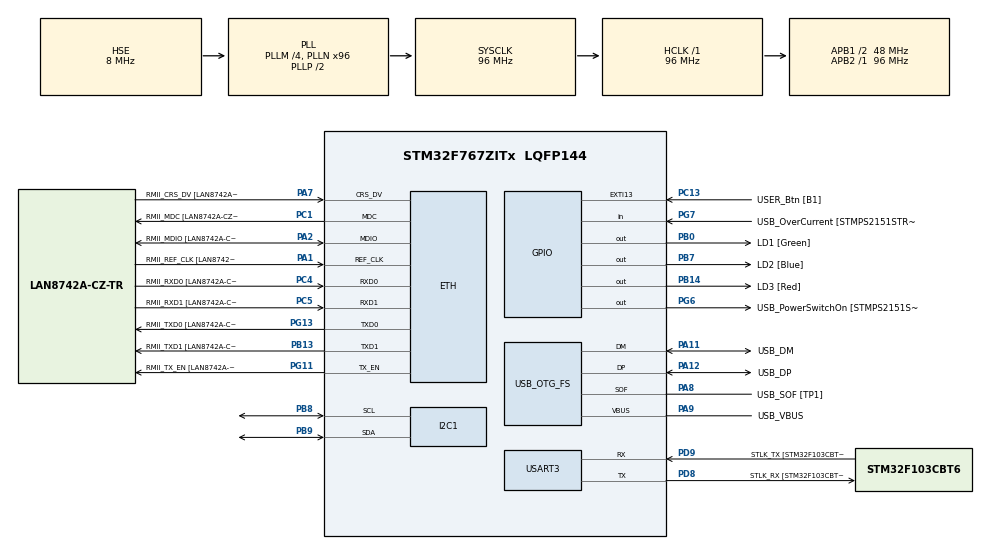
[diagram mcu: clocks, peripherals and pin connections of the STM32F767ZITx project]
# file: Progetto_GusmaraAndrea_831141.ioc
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ETH.MediaInterface=ETH_MEDIA_INTERFACE_RMII
ETH.PHY_Name=LAN8742A_PHY_ADDRESS
ETH.PHY_Value=0
ETH.PhyAddress=0
I2C1.Timing=0x20303E5D
Mcu.Family=STM32F7
Mcu.Name=STM32F767ZITx
Mcu.Package=LQFP144
NVIC.PriorityGroup=NVIC_PRIORITYGROUP_4
NVIC.TIM3_IRQn=true\:0\:0\:false\:false\:true\:true\:true
NVIC.TIM4_IRQn=true\:0\:0\:false\:false\:true\:true\:true
NVIC.TIM6_DAC_IRQn=true\:0\:0\:false\:false\:true\:true\:true
NVIC.TIM7_IRQn=true\:0\:0\:false\:false\:true\:true\:true
PA1.GPIO_Label=RMII_REF_CLK [LAN8742A-CZ-TR_REFCLK0]
PA1.Mode=RMII
PA1.Signal=ETH_REF_CLK
PA10.GPIO_Label=USB_ID
PA10.Signal=USB_OTG_FS_ID
PA11.GPIO_Label=USB_DM
PA11.Mode=Device_Only
PA11.Signal=USB_OTG_FS_DM
PA12.GPIO_Label=USB_DP
PA12.Mode=Device_Only
PA12.Signal=USB_OTG_FS_DP
PA13.GPIO_Label=TMS
PA13.Mode=Serial_Wire
PA13.Signal=SYS_JTMS-SWDIO
PA14.GPIO_Label=TCK
PA14.Mode=Serial_Wire
PA14.Signal=SYS_JTCK-SWCLK
PA2.GPIO_Label=RMII_MDIO [LAN8742A-CZ-TR_MDIO]
PA2.Mode=RMII
PA2.Signal=ETH_MDIO
PA7.GPIO_Label=RMII_CRS_DV [LAN8742A-CZ-TR_CRS_DV]
PA7.Mode=RMII
PA7.Signal=ETH_CRS_DV
PA8.GPIO_Label=USB_SOF [TP1]
PA8.Mode=Activate_SOF_FS
PA8.Signal=USB_OTG_FS_SOF
PA9.GPIO_Label=USB_VBUS
PA9.Mode=Activate_VBUS
PA9.Signal=USB_OTG_FS_VBUS
PB0.GPIO_Label=LD1 [Green]
PB0.Signal=GPIO_Output
PB13.GPIO_Label=RMII_TXD1 [LAN8742A-CZ-TR_TXD1]
PB13.Mode=RMII
PB13.Signal=ETH_TXD1
PB14.GPIO_Label=LD3 [Red]
PB14.Signal=GPIO_Output
PB3.GPIO_Label=SWO
PB3.Signal=SYS_JTDO-SWO
PB7.GPIO_Label=LD2 [Blue]
PB7.Signal=GPIO_Output
PB8.Mode=I2C
PB8.Signal=I2C1_SCL
PB9.Mode=I2C
PB9.Signal=I2C1_SDA
PC1.GPIO_Label=RMII_MDC [LAN8742A-CZ-TR_MDC]
PC1.Mode=RMII
PC1.Signal=ETH_MDC
PC13.GPIO_Label=USER_Btn [B1]
PC13.Signal=GPXTI13
PC14/OSC32_IN.Mode=LSE-External-Oscillator
PC14/OSC32_IN.Signal=RCC_OSC32_IN
PC15/OSC32_OUT.Mode=LSE-External-Oscillator
PC15/OSC32_OUT.Signal=RCC_OSC32_OUT
PC4.GPIO_Label=RMII_RXD0 [LAN8742A-CZ-TR_RXD0]
PC4.Mode=RMII
PC4.Signal=ETH_RXD0
PC5.GPIO_Label=RMII_RXD1 [LAN8742A-CZ-TR_RXD1]
PC5.Mode=RMII
PC5.Signal=ETH_RXD1
PD8.GPIO_Label=STLK_RX [STM32F103CBT6_PA3]
PD8.Mode=Asynchronous
PD8.Signal=USART3_TX
PD9.GPIO_Label=STLK_TX [STM32F103CBT6_PA2]
PD9.Mode=Asynchronous
PD9.Signal=USART3_RX
PG11.GPIO_Label=RMII_TX_EN [LAN8742A-CZ-TR_TXEN]
PG11.Mode=RMII
PG11.Signal=ETH_TX_EN
PG13.GPIO_Label=RMII_TXD0 [LAN8742A-CZ-TR_TXD0]
PG13.Mode=RMII
PG13.Signal=ETH_TXD0
PG6.GPIO_Label=USB_PowerSwitchOn [STMPS2151STR_EN]
PG6.Signal=GPIO_Output
PG7.GPIO_Label=USB_OverCurrent [STMPS2151STR_FAULT]
PG7.Signal=GPIO_Input
PH0/OSC_IN.GPIO_Label=MCO [STM32F103CBT6_PA8]
PH0/OSC_IN.Mode=HSE-External-Clock-Source
PH0/OSC_IN.Signal=RCC_OSC_IN
PH1/OSC_OUT.Mode=HSE-External-Clock-Source
PH1/OSC_OUT.Signal=RCC_OSC_OUT
ProjectManager.HeapSize=0x200
ProjectManager.StackSize=0x400
ProjectManager.TargetToolchain=STM32CubeIDE
RCC.48MHZClocksFreq_Value=24000000
RCC.AHBFreq_Value=96000000
RCC.APB1CLKDivider=RCC_HCLK_DIV2
RCC.APB1Freq_Value=48000000
RCC.APB1TimFreq_Value=96000000
RCC.APB2Freq_Value=96000000
RCC.APB2TimFreq_Value=96000000
RCC.CortexFreq_Value=96000000
RCC.HCLKFreq_Value=96000000
RCC.HSE_VALUE=8000000
RCC.HSI_VALUE=16000000
RCC.PLLM=4
RCC.PLLMUL=RCC_PLL_MUL9
RCC.PLLN=96
RCC.PLLQ=4
RCC.PRESCALERUSB=RCC_USBCLKSOURCE_PLL_DIV1_5
RCC.SYSCLKFreq_VALUE=96000000
RCC.SYSCLKSource=RCC_SYSCLKSOURCE_PLLCLK
RCC.SYSCLKSourceVirtual=RCC_SYSCLKSOURCE_PLLCLK
RCC.USBFreq_Value=48000000
RCC.VCOOutputFreq_Value=192000000
TIM3.Period=3199
TIM3.Prescaler=2999
TIM4.Period=31999
TIM4.Prescaler=2999
TIM6.AutoReloadPreload=TIM_AUTORELOAD_PRELOAD_ENABLE
TIM6.Period=3199
TIM6.Prescaler=399
TIM7.AutoReloadPreload=TIM_AUTORELOAD_PRELOAD_ENABLE
TIM7.Period=3199
TIM7.Prescaler=999
USART3.VirtualMode-Asynchronous=VM_ASYNC
USB_OTG_FS.VirtualMode=Device_Only
VP_TIM3_VS_ClockSourceINT.Mode=Internal
VP_TIM4_VS_ClockSourceINT.Mode=Internal
VP_TIM6_VS_ClockSourceINT.Mode=Enable_Timer
VP_TIM7_VS_ClockSourceINT.Mode=Enable_Timer
board=NUCLEO-F767ZI

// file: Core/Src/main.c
/* USER CODE BEGIN Header */
/**
  ******************************************************************************
  * @file           : main.c
  * @brief          : Main program body
  ******************************************************************************
  *
  *
  *
  * Project written by : Andrea Gusmara (831141).
  *
  * last modify: 10/08/2020
  *
  * Consegna progetto:
  * Si	vuole	progettare	un	sottosistema	di	acquisizione	e	prima	elaborazione	dati	da	sensori	per	un	drone	che	verrà	utilizzato
  *	per	 l’ispezione	 di	 torri	 eoliche.	 Il	 drone	 non	 necessita	 di	 essere	 certificato	 per	 il	 volo	 civile	 e	 il	 sottosistema	 di
  *	acquisizione/elaborazione	 dati	 deve	 essere	 poco	 costoso.	 Si	 è	 pertanto	 scelto	 di	 basare	 il	 sottosistema	 su	 un
  *	microcontrollore	ARM	e	su	sensori	 facilmente	reperibili	sul	mercato.	La	versione	che	progetterete	voi	sarà	basata	sul
  *	microcontrollore	STM32	F767ZI	installato	sulla	scheda	di	sviluppo	Nucleo	usata	a	laboratorio	e	sui	sensori	sullo	shield	di
  *	espansione	 X-NUCLEO-IKS01A2,	 oltre	 ad	 altri	 apparati	 sensoriali	 non	 gestiti	 da	 questa	 board.	 Il	 sottosistema	 deve
  *	funzionare	 in	 tempo	 reale	 con	 opportuni	 vincoli	 temporali	 che saranno	 successivamente	 specificati. Il	 sottosistema
  *	interagisce	 con	 i	 seguenti	 sensori	 dello	 shield	 di	 espansione: accelerometro	 1,	 accelerometro 2,	 giroscopio,
  *	magnetometro,	barometro.
  *
  ******************************************************************************
  */
/* USER CODE END Header */
#include "main.h"

/* USER CODE BEGIN Includes */
#include "lcd.h"
#include <stdio.h>
#include <string.h>
#include "lsm6dsl_reg.h"
#include "lsm303agr_reg.h"
#include "lps22hb_reg.h"
/* USER CODE END Includes */

/* USER CODE BEGIN PTD */
typedef enum { false = 0, true = 1} bool;

typedef union{
  int16_t i16bit[3];
  uint8_t u8bit[6];
} axis3bit16_t;

typedef union{
  int32_t i32bit;
  uint8_t u8bit[4];
} axis1bit32_t;

/* USER CODE END PTD */

/* USER CODE BEGIN PD */
#define NUCLEO_F767ZI
#define TX_BUF_DIM          1000
/* USER CODE END PD */

ETH_HandleTypeDef heth;

I2C_HandleTypeDef hi2c1;

TIM_HandleTypeDef htim3;
TIM_HandleTypeDef htim4;
TIM_HandleTypeDef htim6;
TIM_HandleTypeDef htim7;

UART_HandleTypeDef huart3;

PCD_HandleTypeDef hpcd_USB_OTG_FS;

/* USER CODE BEGIN PV */
static axis1bit32_t data_raw_pressure;
static axis3bit16_t data_raw_acceleration;
static axis3bit16_t data_raw_magnetic;
static axis3bit16_t data_raw_angular_rate;
static float coda_x_ang[10];
static float coda_y_ang[10];
static float coda_z_ang[10];
static float coda_x_acc1[10];
static float coda_y_acc1[10];
static float coda_z_acc1[10];
static float coda_x_acc2[10];
static float coda_y_acc2[10];
static float coda_z_acc2[10];
static float coda_mg_x[3];
static float coda_mg_y[3];
static float coda_mg_z[3];
static float coda_bar[40];
static float pressure;
static float acceleration_mg_mean[3];
static float acceleration2_mean_mean[3];
static float magnetic_mean[3];
static float angular_mean[3];
static uint8_t whoamI, rst;
static uint8_t tx_buffer[TX_BUF_DIM];

static bool tim7_it;
static bool acc_and_giro_flag, magn_flag, mean_flag, baro_flag,display_flag;

/* USER CODE END PV */

void SystemClock_Config(void);
static void MX_GPIO_Init(void);
static void MX_ETH_Init(void);
static void MX_USART3_UART_Init(void);
static void MX_USB_OTG_FS_PCD_Init(void);
static void MX_I2C1_Init(void);
static void MX_TIM6_Init(void);
static void MX_TIM7_Init(void);
static void MX_TIM3_Init(void);
static void MX_TIM4_Init(void);
/* USER CODE BEGIN PFP */
static int32_t lsm303agr_platform_write(void *handle, uint8_t reg, uint8_t *bufp,
		uint16_t len);
static int32_t lsm303agr_platform_read(void *handle, uint8_t reg, uint8_t *bufp,
		uint16_t len);
static int32_t lsm6dsl_platform_write(void *handle, uint8_t reg, uint8_t *bufp,
		uint16_t len);
static int32_t lsm6dsl_platform_read(void *handle, uint8_t reg, uint8_t *bufp,
		uint16_t len);
static int32_t lps22hb_platform_write(void *handle, uint8_t reg, uint8_t *bufp,
                              uint16_t len);
static int32_t lps22hb_platform_read(void *handle, uint8_t reg, uint8_t *bufp,
                             uint16_t len);
static void tx_com(uint8_t *tx_buffer, uint16_t len);
static void acceleration2_acquisition(stmdev_ctx_t *lsm6dsl_dev_ctx, int8_t i);
static void acceleration1_acquisition(stmdev_ctx_t *lsm303_dev_ctx_xl, int8_t i);
static void magnetometer_acquisition(stmdev_ctx_t *lsm303_dev_ctx_mg, int8_t i);
static void gyroscope_acquisition(stmdev_ctx_t *lsm6dsl_dev_ctx, int8_t i);
static void pressure_acquisition(stmdev_ctx_t *lps22hb_dev_ctx, int8_t i);
static void compute_mean(int8_t size, float *buffx, float *buffy, float *buffz, float *result);
static void compute_mean_bar(int8_t size, float *buff, float result);
static void initialization();
static stmdev_ctx_t lsm6dsl_init(I2C_HandleTypeDef *hi2c);
static stmdev_ctx_t lsm303agr_init_xl(I2C_HandleTypeDef *hi2c);
static stmdev_ctx_t lsm303agr_init_mg(I2C_HandleTypeDef *hi2c);
static stmdev_ctx_t lps22hb_init_mg(I2C_HandleTypeDef *hi2c);
/* USER CODE END PFP */

int main(void)
{
  /* USER CODE BEGIN 1 */
	int sens=0;
		int i=0;
		int j=0;
		int k=0;
		bool page=false;
  /* USER CODE END 1 */

  /* MCU Configuration--------------------------------------------------------*/

  /* Reset of all peripherals, Initializes the Flash interface and the Systick. */
  HAL_Init();

  /* Configure the system clock */
  SystemClock_Config();

  /* Initialize all configured peripherals */
  MX_GPIO_Init();
  MX_ETH_Init();
  MX_USART3_UART_Init();
  MX_USB_OTG_FS_PCD_Init();
  MX_I2C1_Init();
  MX_TIM6_Init();
  MX_TIM7_Init();
  MX_TIM3_Init();
  MX_TIM4_Init();
  /* USER CODE BEGIN 2 */

  /* User initialization : Here we initialize all sensors , the channel i2c connecting
   * the display and start timers*/
  lcdInit(&hi2c1);
  initialization();
  stmdev_ctx_t lsm6dsl_dev_ctx =lsm6dsl_init(&hi2c1);
  stmdev_ctx_t lsm303_dev_ctx_xl = lsm303agr_init_xl(&hi2c1);
  stmdev_ctx_t lsm303_dev_ctx_mg = lsm303agr_init_mg(&hi2c1);
  stmdev_ctx_t lps22hb_dev_ctx = lps22hb_init_mg(&hi2c1);
  HAL_TIM_Base_Start_IT(&htim4);
  HAL_TIM_Base_Start_IT(&htim3);
  HAL_TIM_Base_Start_IT(&htim7);
  HAL_TIM_Base_Start_IT(&htim6);
  /* USER CODE END 2 */

  /* Infinite loop */
  while (1)
  {

	  uint32_t a= HAL_GetTick();
	  /*compute mean for all sernsors*/
	     if(mean_flag){

	 		mean_flag=false;
	 		compute_mean(10, &coda_x_acc1,  &coda_y_acc1,  &coda_z_acc1, &acceleration_mg_mean);
	 		compute_mean(10, &coda_x_acc2,  &coda_y_acc2,  &coda_z_acc2, &acceleration2_mean_mean);
	 		compute_mean(10, &coda_x_ang,  &coda_y_ang,  &coda_z_ang, &angular_mean);
	 		compute_mean(3, &coda_mg_x,  &coda_mg_y,  &coda_mg_z, &magnetic_mean);
	 		compute_mean_bar( 40, &coda_bar, pressure );

	     }

	     /*take data from accelerometer and gyroscope*/
	     if(acc_and_giro_flag){
	 		acc_and_giro_flag=false;
	 		acceleration1_acquisition(&lsm6dsl_dev_ctx, i);
	 		acceleration2_acquisition(&lsm303_dev_ctx_xl, i);
	 		gyroscope_acquisition(&lsm6dsl_dev_ctx, i);
	 		if (i == 10){
	 			i = 0;
	 		}else{
	 			i = i + 1;
	 		}
	 	}
	     /*take data from magnetometer*/
	     if(magn_flag){
	     	magn_flag=false;
	 		magnetometer_acquisition(&lsm303_dev_ctx_mg, j);
	 		 if (j == 3){
	 			j = 0;
	 		}else{
	 			j = j + 1;
	 		}
	 	}
	     /*take data from barometer*/
	     if(baro_flag){
	     	baro_flag=false;
	     	pressure_acquisition(&lps22hb_dev_ctx, k);
	 		 if (k == 40){
	 			k = 0;
	 		}else{
	 			k = k + 1;
	 		}
	     }

	     /*every second print to LCD the result of the learned data*/
	     if(display_flag){
	 		  display_flag=false;
	 		  /*print the result of the first accelerometer*/
	 		  if(sens==0){
	 			  /*print X and Y*/
	 			  if(!page){
	 					sprintf((char*)tx_buffer, "Acc1 X:%4d   ",
	 									  (int)acceleration_mg_mean[0]);
	 					tx_com( tx_buffer, strlen( (char const*)tx_buffer ) );
	 					HAL_Delay(10);
	 					lcdSetCursor(0,0);
	 					lcdPrint(tx_buffer);
	 					sprintf((char*)tx_buffer, "Y: %4d       ",
	 						 (int)acceleration_mg_mean[1]);
	 					tx_com( tx_buffer, strlen( (char const*)tx_buffer ) );
	 					HAL_Delay(10);
	 					lcdSetCursor(0,1);
	 					lcdPrint(tx_buffer);
	 			  }else{
	 				 /*print Z*/
	 					sprintf((char*)tx_buffer, "Z: %4d       ",
	 									  (int)acceleration_mg_mean[2]);
	 					tx_com( tx_buffer, strlen( (char const*)tx_buffer ) );
	 					HAL_Delay(10);
	 					lcdSetCursor(0,0);
	 					lcdPrint(tx_buffer);
	 					sprintf((char*)tx_buffer, "                ");
	 					tx_com( tx_buffer, strlen( (char const*)tx_buffer ) );
	 					HAL_Delay(10);
	 					lcdSetCursor(0,1);
	 					lcdPrint(tx_buffer);
	 			  }

	 			  /*print the result of the second accelerometer*/
	 		  }else if(sens==1){
	 			  /*print X and Y*/
	 			  if(!page){
	 					sprintf((char*)tx_buffer, "Acc2 X:%4d   ",
	 									 (int)acceleration2_mean_mean[0]);
	 					tx_com( tx_buffer, strlen( (char const*)tx_buffer ) );
	 					HAL_Delay(10);
	 					lcdSetCursor(0,0);
	 					lcdPrint(tx_buffer);
	 					sprintf((char*)tx_buffer, "Y: %4d       ",
	 							(int)acceleration2_mean_mean[1]);
	 					tx_com( tx_buffer, strlen( (char const*)tx_buffer ) );
	 					HAL_Delay(10);
	 					lcdSetCursor(0,1);
	 					lcdPrint(tx_buffer);
	 			  }else{
	 				  /*print Z*/
	 					sprintf((char*)tx_buffer, "Z: %4d       ",
	 							(int)acceleration2_mean_mean[2]);
	 					tx_com( tx_buffer, strlen( (char const*)tx_buffer ) );
	 					HAL_Delay(10);
	 					lcdSetCursor(0,0);
	 					lcdPrint(tx_buffer);
	 					sprintf((char*)tx_buffer, "                ");
	 					tx_com( tx_buffer, strlen( (char const*)tx_buffer ) );
	 					HAL_Delay(10);
	 					lcdSetCursor(0,1);
	 					lcdPrint(tx_buffer);
	 			  }
	 		/*print the result of the gyroscope*/
	 		  }else if(sens == 2){
	 			  /*print X and Y*/
	 			  if(!page){
	 					sprintf((char*)tx_buffer, "Ang X:%4d    ",
	 									  (int)angular_mean[0]);
	 					tx_com( tx_buffer, strlen( (char const*)tx_buffer ) );
	 					HAL_Delay(10);
	 					lcdSetCursor(0,0);
	 					lcdPrint(tx_buffer);
	 					sprintf((char*)tx_buffer, "Y: %4d       ",
	 							(int)angular_mean[1]);
	 					tx_com( tx_buffer, strlen( (char const*)tx_buffer ) );
	 					HAL_Delay(10);
	 					lcdSetCursor(0,1);
	 					lcdPrint(tx_buffer);
	 			  }else{
	 				  /*print Z*/
	 					sprintf((char*)tx_buffer, "Z: %4d       ",
	 							(int)angular_mean[2]);
	 					tx_com( tx_buffer, strlen( (char const*)tx_buffer ) );
	 					HAL_Delay(10);
	 					lcdSetCursor(0,0);
	 					lcdPrint(tx_buffer);
	 					sprintf((char*)tx_buffer, "                ");
	 					tx_com( tx_buffer, strlen( (char const*)tx_buffer ) );
	 					HAL_Delay(10);
	 					lcdSetCursor(0,1);
	 					lcdPrint(tx_buffer);
	 			  }
	 			  /*print the result of the magnetometer*/
	 		  }else if(sens == 3){
	 			  /*print X and Y*/
	 			  if(!page){
	 					sprintf((char*)tx_buffer, "Mag X:%4d    ",
	 									 (int) magnetic_mean[0]);
	 					tx_com( tx_buffer, strlen( (char const*)tx_buffer ) );
	 					HAL_Delay(10);
	 					lcdSetCursor(0,0);
	 					lcdPrint(tx_buffer);
	 					sprintf((char*)tx_buffer, "Y: %4d       ",
	 							(int)magnetic_mean[1]);
	 					tx_com( tx_buffer, strlen( (char const*)tx_buffer ) );
	 					HAL_Delay(10);
	 					lcdSetCursor(0,1);
	 					lcdPrint(tx_buffer);
	 			  }else{
	 				  /*print Z*/
	 					sprintf((char*)tx_buffer, "Z: %4d    ",
	 							(int)magnetic_mean[2]);
	 					tx_com( tx_buffer, strlen( (char const*)tx_buffer ) );
	 					HAL_Delay(10);
	 					lcdSetCursor(0,0);
	 					lcdPrint(tx_buffer);
	 					sprintf((char*)tx_buffer, "                ");
	 					tx_com( tx_buffer, strlen( (char const*)tx_buffer ) );
	 					HAL_Delay(10);
	 					lcdSetCursor(0,1);
	 					lcdPrint(tx_buffer);
	 			  }
	 		/*print the result of the barometer*/
	 		}else if (sens == 4){
	 			sprintf((char*)tx_buffer, "Prs :%6d    ", (int)pressure);
	 			tx_com(tx_buffer, strlen((char const*)tx_buffer));
	 			HAL_Delay(10);
	 			lcdSetCursor(0,0);
	 			lcdPrint(tx_buffer);
	 			sprintf((char*)tx_buffer, "                ");
	 			tx_com( tx_buffer, strlen( (char const*)tx_buffer ) );
	 			HAL_Delay(10);
	 			lcdSetCursor(0,1);
	 			lcdPrint(tx_buffer);
	 		}
  }
	     /*check if a button has been pressed and check which one*/
	     	uint8_t but = lcdReadButtons();
	     	if(but == 0 || but == 1111){
	     	}else{
	     		/*If press the first button, the sensor to be displayed on the LCD is changed forward*/
	     		if(!(but & 0x01)) {
	     			if(sens < 4){
	     				sens = sens + 1;
	     			}else{
	     				sens = 0;
	     			}
	     		}else if (!(but & 0x02)) {
	     			/*If you press the first button, the variable to be displayed on the LCD is changed*/
	     			if(page){
	     				page=false;
	     			}else{
	     				page=true;
	     			}
	     			/*If you press the fourth  button, the sensor to be displayed on the LCD is changed backwards*/
	     		}else if (!(but & 0x08)) {
	     			if(sens > 0){
	     				sens = sens - 1;
	     			}else{
	     				sens = 4;
	     			}
	     		}
	     	}
  }
}

void SystemClock_Config(void)
{
  RCC_OscInitTypeDef RCC_OscInitStruct = {0};
  RCC_ClkInitTypeDef RCC_ClkInitStruct = {0};
  RCC_PeriphCLKInitTypeDef PeriphClkInitStruct = {0};

  /** Configure LSE Drive Capability
  */
  HAL_PWR_EnableBkUpAccess();
  /** Configure the main internal regulator output voltage
  */
  __HAL_RCC_PWR_CLK_ENABLE();
  __HAL_PWR_VOLTAGESCALING_CONFIG(PWR_REGULATOR_VOLTAGE_SCALE3);
  /** Initializes the RCC Oscillators according to the specified parameters
  * in the RCC_OscInitTypeDef structure.
  */
  RCC_OscInitStruct.OscillatorType = RCC_OSCILLATORTYPE_HSE;
  RCC_OscInitStruct.HSEState = RCC_HSE_BYPASS;
  RCC_OscInitStruct.PLL.PLLState = RCC_PLL_ON;
  RCC_OscInitStruct.PLL.PLLSource = RCC_PLLSOURCE_HSE;
  RCC_OscInitStruct.PLL.PLLM = 4;
  RCC_OscInitStruct.PLL.PLLN = 96;
  RCC_OscInitStruct.PLL.PLLP = RCC_PLLP_DIV2;
  RCC_OscInitStruct.PLL.PLLQ = 4;
  if (HAL_RCC_OscConfig(&RCC_OscInitStruct) != HAL_OK)
  {
    Error_Handler();
  }
  /** Activate the Over-Drive mode
  */
  if (HAL_PWREx_EnableOverDrive() != HAL_OK)
  {
    Error_Handler();
  }
  /** Initializes the CPU, AHB and APB buses clocks
  */
  RCC_ClkInitStruct.ClockType = RCC_CLOCKTYPE_HCLK|RCC_CLOCKTYPE_SYSCLK
                              |RCC_CLOCKTYPE_PCLK1|RCC_CLOCKTYPE_PCLK2;
  RCC_ClkInitStruct.SYSCLKSource = RCC_SYSCLKSOURCE_PLLCLK;
  RCC_ClkInitStruct.AHBCLKDivider = RCC_SYSCLK_DIV1;
  RCC_ClkInitStruct.APB1CLKDivider = RCC_HCLK_DIV2;
  RCC_ClkInitStruct.APB2CLKDivider = RCC_HCLK_DIV1;

  if (HAL_RCC_ClockConfig(&RCC_ClkInitStruct, FLASH_LATENCY_3) != HAL_OK)
  {
    Error_Handler();
  }
  PeriphClkInitStruct.PeriphClockSelection = RCC_PERIPHCLK_USART3|RCC_PERIPHCLK_I2C1
                              |RCC_PERIPHCLK_CLK48;
  PeriphClkInitStruct.Usart3ClockSelection = RCC_USART3CLKSOURCE_PCLK1;
  PeriphClkInitStruct.I2c1ClockSelection = RCC_I2C1CLKSOURCE_PCLK1;
  PeriphClkInitStruct.Clk48ClockSelection = RCC_CLK48SOURCE_PLL;
  if (HAL_RCCEx_PeriphCLKConfig(&PeriphClkInitStruct) != HAL_OK)
  {
    Error_Handler();
  }
}

static void MX_ETH_Init(void)
{

  heth.Instance = ETH;
  heth.Init.AutoNegotiation = ETH_AUTONEGOTIATION_ENABLE;
  heth.Init.PhyAddress = LAN8742A_PHY_ADDRESS;
  heth.Init.MACAddr[0] =   0x00;
  heth.Init.MACAddr[1] =   0x80;
  heth.Init.MACAddr[2] =   0xE1;
  heth.Init.MACAddr[3] =   0x00;
  heth.Init.MACAddr[4] =   0x00;
  heth.Init.MACAddr[5] =   0x00;
  heth.Init.RxMode = ETH_RXPOLLING_MODE;
  heth.Init.ChecksumMode = ETH_CHECKSUM_BY_HARDWARE;
  heth.Init.MediaInterface = ETH_MEDIA_INTERFACE_RMII;

  if (HAL_ETH_Init(&heth) != HAL_OK)
  {
    Error_Handler();
  }

}

static void MX_I2C1_Init(void)
{

  hi2c1.Instance = I2C1;
  hi2c1.Init.Timing = 0x20303E5D;
  hi2c1.Init.OwnAddress1 = 0;
  hi2c1.Init.AddressingMode = I2C_ADDRESSINGMODE_7BIT;
  hi2c1.Init.DualAddressMode = I2C_DUALADDRESS_DISABLE;
  hi2c1.Init.OwnAddress2 = 0;
  hi2c1.Init.OwnAddress2Masks = I2C_OA2_NOMASK;
  hi2c1.Init.GeneralCallMode = I2C_GENERALCALL_DISABLE;
  hi2c1.Init.NoStretchMode = I2C_NOSTRETCH_DISABLE;
  if (HAL_I2C_Init(&hi2c1) != HAL_OK)
  {
    Error_Handler();
  }
  /** Configure Analogue filter
  */
  if (HAL_I2CEx_ConfigAnalogFilter(&hi2c1, I2C_ANALOGFILTER_ENABLE) != HAL_OK)
  {
    Error_Handler();
  }
  /** Configure Digital filter
  */
  if (HAL_I2CEx_ConfigDigitalFilter(&hi2c1, 0) != HAL_OK)
  {
    Error_Handler();
  }

}

static void MX_TIM3_Init(void)
{

  TIM_ClockConfigTypeDef sClockSourceConfig = {0};
  TIM_MasterConfigTypeDef sMasterConfig = {0};

  htim3.Instance = TIM3;
  htim3.Init.Prescaler = 2999;
  htim3.Init.CounterMode = TIM_COUNTERMODE_UP;
  htim3.Init.Period = 3199;
  htim3.Init.ClockDivision = TIM_CLOCKDIVISION_DIV1;
  htim3.Init.AutoReloadPreload = TIM_AUTORELOAD_PRELOAD_DISABLE;
  if (HAL_TIM_Base_Init(&htim3) != HAL_OK)
  {
    Error_Handler();
  }
  sClockSourceConfig.ClockSource = TIM_CLOCKSOURCE_INTERNAL;
  if (HAL_TIM_ConfigClockSource(&htim3, &sClockSourceConfig) != HAL_OK)
  {
    Error_Handler();
  }
  sMasterConfig.MasterOutputTrigger = TIM_TRGO_RESET;
  sMasterConfig.MasterSlaveMode = TIM_MASTERSLAVEMODE_DISABLE;
  if (HAL_TIMEx_MasterConfigSynchronization(&htim3, &sMasterConfig) != HAL_OK)
  {
    Error_Handler();
  }

}

static void MX_TIM4_Init(void)
{

  TIM_ClockConfigTypeDef sClockSourceConfig = {0};
  TIM_MasterConfigTypeDef sMasterConfig = {0};

  htim4.Instance = TIM4;
  htim4.Init.Prescaler = 2999;
  htim4.Init.CounterMode = TIM_COUNTERMODE_UP;
  htim4.Init.Period = 31999;
  htim4.Init.ClockDivision = TIM_CLOCKDIVISION_DIV1;
  htim4.Init.AutoReloadPreload = TIM_AUTORELOAD_PRELOAD_DISABLE;
  if (HAL_TIM_Base_Init(&htim4) != HAL_OK)
  {
    Error_Handler();
  }
  sClockSourceConfig.ClockSource = TIM_CLOCKSOURCE_INTERNAL;
  if (HAL_TIM_ConfigClockSource(&htim4, &sClockSourceConfig) != HAL_OK)
  {
    Error_Handler();
  }
  sMasterConfig.MasterOutputTrigger = TIM_TRGO_RESET;
  sMasterConfig.MasterSlaveMode = TIM_MASTERSLAVEMODE_DISABLE;
  if (HAL_TIMEx_MasterConfigSynchronization(&htim4, &sMasterConfig) != HAL_OK)
  {
    Error_Handler();
  }

}

static void MX_TIM6_Init(void)
{

  TIM_MasterConfigTypeDef sMasterConfig = {0};

  htim6.Instance = TIM6;
  htim6.Init.Prescaler = 399;
  htim6.Init.CounterMode = TIM_COUNTERMODE_UP;
  htim6.Init.Period = 3199;
  htim6.Init.AutoReloadPreload = TIM_AUTORELOAD_PRELOAD_ENABLE;
  if (HAL_TIM_Base_Init(&htim6) != HAL_OK)
  {
    Error_Handler();
  }
  sMasterConfig.MasterOutputTrigger = TIM_TRGO_RESET;
  sMasterConfig.MasterSlaveMode = TIM_MASTERSLAVEMODE_DISABLE;
  if (HAL_TIMEx_MasterConfigSynchronization(&htim6, &sMasterConfig) != HAL_OK)
  {
    Error_Handler();
  }

}

static void MX_TIM7_Init(void)
{

  TIM_MasterConfigTypeDef sMasterConfig = {0};

  htim7.Instance = TIM7;
  htim7.Init.Prescaler = 999;
  htim7.Init.CounterMode = TIM_COUNTERMODE_UP;
  htim7.Init.Period = 3199;
  htim7.Init.AutoReloadPreload = TIM_AUTORELOAD_PRELOAD_ENABLE;
  if (HAL_TIM_Base_Init(&htim7) != HAL_OK)
  {
    Error_Handler();
  }
  sMasterConfig.MasterOutputTrigger = TIM_TRGO_RESET;
  sMasterConfig.MasterSlaveMode = TIM_MASTERSLAVEMODE_DISABLE;
  if (HAL_TIMEx_MasterConfigSynchronization(&htim7, &sMasterConfig) != HAL_OK)
  {
    Error_Handler();
  }

}

static void MX_USART3_UART_Init(void)
{

  huart3.Instance = USART3;
  huart3.Init.BaudRate = 115200;
  huart3.Init.WordLength = UART_WORDLENGTH_8B;
  huart3.Init.StopBits = UART_STOPBITS_1;
  huart3.Init.Parity = UART_PARITY_NONE;
  huart3.Init.Mode = UART_MODE_TX_RX;
  huart3.Init.HwFlowCtl = UART_HWCONTROL_NONE;
  huart3.Init.OverSampling = UART_OVERSAMPLING_16;
  huart3.Init.OneBitSampling = UART_ONE_BIT_SAMPLE_DISABLE;
  huart3.AdvancedInit.AdvFeatureInit = UART_ADVFEATURE_NO_INIT;
  if (HAL_UART_Init(&huart3) != HAL_OK)
  {
    Error_Handler();
  }

}

static void MX_USB_OTG_FS_PCD_Init(void)
{

  hpcd_USB_OTG_FS.Instance = USB_OTG_FS;
  hpcd_USB_OTG_FS.Init.dev_endpoints = 6;
  hpcd_USB_OTG_FS.Init.speed = PCD_SPEED_FULL;
  hpcd_USB_OTG_FS.Init.dma_enable = DISABLE;
  hpcd_USB_OTG_FS.Init.phy_itface = PCD_PHY_EMBEDDED;
  hpcd_USB_OTG_FS.Init.Sof_enable = ENABLE;
  hpcd_USB_OTG_FS.Init.low_power_enable = DISABLE;
  hpcd_USB_OTG_FS.Init.lpm_enable = DISABLE;
  hpcd_USB_OTG_FS.Init.vbus_sensing_enable = ENABLE;
  hpcd_USB_OTG_FS.Init.use_dedicated_ep1 = DISABLE;
  if (HAL_PCD_Init(&hpcd_USB_OTG_FS) != HAL_OK)
  {
    Error_Handler();
  }

}

static void MX_GPIO_Init(void)
{
  GPIO_InitTypeDef GPIO_InitStruct = {0};

  /* GPIO Ports Clock Enable */
  __HAL_RCC_GPIOC_CLK_ENABLE();
  __HAL_RCC_GPIOH_CLK_ENABLE();
  __HAL_RCC_GPIOA_CLK_ENABLE();
  __HAL_RCC_GPIOB_CLK_ENABLE();
  __HAL_RCC_GPIOD_CLK_ENABLE();
  __HAL_RCC_GPIOG_CLK_ENABLE();

  /*Configure GPIO pin Output Level */
  HAL_GPIO_WritePin(GPIOB, LD1_Pin|LD3_Pin|LD2_Pin, GPIO_PIN_RESET);

  /*Configure GPIO pin Output Level */
  HAL_GPIO_WritePin(USB_PowerSwitchOn_GPIO_Port, USB_PowerSwitchOn_Pin, GPIO_PIN_RESET);

  /*Configure GPIO pin : USER_Btn_Pin */
  GPIO_InitStruct.Pin = USER_Btn_Pin;
  GPIO_InitStruct.Mode = GPIO_MODE_IT_RISING;
  GPIO_InitStruct.Pull = GPIO_NOPULL;
  HAL_GPIO_Init(USER_Btn_GPIO_Port, &GPIO_InitStruct);

  /*Configure GPIO pins : LD1_Pin LD3_Pin LD2_Pin */
  GPIO_InitStruct.Pin = LD1_Pin|LD3_Pin|LD2_Pin;
  GPIO_InitStruct.Mode = GPIO_MODE_OUTPUT_PP;
  GPIO_InitStruct.Pull = GPIO_NOPULL;
  GPIO_InitStruct.Speed = GPIO_SPEED_FREQ_LOW;
  HAL_GPIO_Init(GPIOB, &GPIO_InitStruct);

  /*Configure GPIO pin : USB_PowerSwitchOn_Pin */
  GPIO_InitStruct.Pin = USB_PowerSwitchOn_Pin;
  GPIO_InitStruct.Mode = GPIO_MODE_OUTPUT_PP;
  GPIO_InitStruct.Pull = GPIO_NOPULL;
  GPIO_InitStruct.Speed = GPIO_SPEED_FREQ_LOW;
  HAL_GPIO_Init(USB_PowerSwitchOn_GPIO_Port, &GPIO_InitStruct);

  /*Configure GPIO pin : USB_OverCurrent_Pin */
  GPIO_InitStruct.Pin = USB_OverCurrent_Pin;
  GPIO_InitStruct.Mode = GPIO_MODE_INPUT;
  GPIO_InitStruct.Pull = GPIO_NOPULL;
  HAL_GPIO_Init(USB_OverCurrent_GPIO_Port, &GPIO_InitStruct);

}

/* USER CODE BEGIN 4 */
/*
 * Inizialization
 */
/*Initialization of all variables that trigger the calculation of data as false*/
static void initialization(){
	display_flag = false;
	acc_and_giro_flag = false;
	magn_flag = false;
	baro_flag = false;
}
/* Initialization of all sensors*/

static stmdev_ctx_t lps22hb_init_mg(I2C_HandleTypeDef *hi2c){

	stmdev_ctx_t lps22hb_dev_ctx;
	lps22hb_dev_ctx.write_reg = lps22hb_platform_write;
	lps22hb_dev_ctx.read_reg = lps22hb_platform_read;
	lps22hb_dev_ctx.handle = &hi2c1;

	/* Check device ID */
	lps22hb_device_id_get(&lps22hb_dev_ctx, &whoamI);
	if (whoamI != LPS22HB_ID){
		while(1)/* manage here device not found */;
	}
	/* Restore default configuration */
	lps22hb_reset_set(&lps22hb_dev_ctx, PROPERTY_ENABLE);
	do {
		lps22hb_reset_get(&lps22hb_dev_ctx, &rst);
	} while (rst);

	/* Enable Block Data Update */
	//lps22hb_block_data_update_set(&lps22hb_dev_ctx, PROPERTY_ENABLE);

	/* Can be enabled low pass filter on output */
	lps22hb_low_pass_filter_mode_set(&lps22hb_dev_ctx, LPS22HB_LPF_ODR_DIV_2);

	/* Can be set Data-ready signal on INT_DRDY pin */
	//lps22hb_drdy_on_int_set(&lps22hb_dev_ctx, PROPERTY_ENABLE);

	/* Set Output Data Rate */
	lps22hb_data_rate_set(&lps22hb_dev_ctx, LPS22HB_ODR_10_Hz);

	return lps22hb_dev_ctx;
}

static stmdev_ctx_t lsm303agr_init_xl(I2C_HandleTypeDef *hi2c){
	 /* Initialize mems driver interface */
	  stmdev_ctx_t dev_ctx_xl;
	  dev_ctx_xl.write_reg = lsm303agr_platform_write;
	  dev_ctx_xl.read_reg = lsm303agr_platform_read;
	  dev_ctx_xl.handle = (void*)LSM303AGR_I2C_ADD_XL;

	  /* Check device ID */
	  whoamI = 0;
	  lsm303agr_xl_device_id_get(&dev_ctx_xl, &whoamI);
	  if ( whoamI != LSM303AGR_ID_XL )
	    while(1); /*manage here device not found */

	  /* Enable Block Data Update */
	  lsm303agr_xl_block_data_update_set(&dev_ctx_xl, PROPERTY_ENABLE);
	  /* Set Output Data Rate */
	  lsm303agr_xl_data_rate_set(&dev_ctx_xl, LSM303AGR_XL_ODR_1Hz);
	  /* Set accelerometer full scale */
	  lsm303agr_xl_full_scale_set(&dev_ctx_xl, LSM303AGR_2g);
	  /* Enable temperature sensor */
	  lsm303agr_temperature_meas_set(&dev_ctx_xl, LSM303AGR_TEMP_ENABLE);
	  /* Set device in continuos mode */
	  lsm303agr_xl_operating_mode_set(&dev_ctx_xl, LSM303AGR_HR_12bit);

	  return dev_ctx_xl;
}

static stmdev_ctx_t lsm6dsl_init(I2C_HandleTypeDef *hi2c){
	stmdev_ctx_t lsm6dsl_dev_ctx;
	  lsm6dsl_dev_ctx.write_reg = lsm6dsl_platform_write;
	  lsm6dsl_dev_ctx.read_reg = lsm6dsl_platform_read;
	  lsm6dsl_dev_ctx.handle = hi2c;

	  whoamI = 0;
	  lsm6dsl_device_id_get(&lsm6dsl_dev_ctx, &whoamI);
	  if ( whoamI != LSM6DSL_ID )
		  while(1)
	      	; /*manage here device not found */
	  /*
	   *  Restore default configuration
	   */
		lsm6dsl_reset_set(&lsm6dsl_dev_ctx, PROPERTY_ENABLE);
		do {
		  lsm6dsl_reset_get(&lsm6dsl_dev_ctx, &rst);
		} while (rst);
		/*
		*  Enable Block Data Update
		*/
		lsm6dsl_block_data_update_set(&lsm6dsl_dev_ctx, PROPERTY_ENABLE);
		/*
		* Set Output Data Rate
		*/
		lsm6dsl_xl_data_rate_set(&lsm6dsl_dev_ctx, LSM6DSL_XL_ODR_12Hz5);
		lsm6dsl_gy_data_rate_set(&lsm6dsl_dev_ctx, LSM6DSL_GY_ODR_12Hz5);
		/*
		* Set full scale
		*/
		lsm6dsl_xl_full_scale_set(&lsm6dsl_dev_ctx, LSM6DSL_2g);
		lsm6dsl_gy_full_scale_set(&lsm6dsl_dev_ctx, LSM6DSL_2000dps);

		/*
		* Configure filtering chain(No aux interface)
		*/
		/* Accelerometer - analog filter */
		lsm6dsl_xl_filter_analog_set(&lsm6dsl_dev_ctx, LSM6DSL_XL_ANA_BW_400Hz);

		/* Accelerometer - LPF1 path ( LPF2 not used )*/
		//lsm6dsl_xl_lp1_bandwidth_set(&lsm6dsl_dev_ctx, LSM6DSL_XL_LP1_ODR_DIV_4);

		/* Accelerometer - LPF1 + LPF2 path */
		lsm6dsl_xl_lp2_bandwidth_set(&lsm6dsl_dev_ctx, LSM6DSL_XL_LOW_NOISE_LP_ODR_DIV_100);

		/* Accelerometer - High Pass / Slope path */
		//lsm6dsl_xl_reference_mode_set(&lsm6dsl_dev_ctx, PROPERTY_DISABLE);
		//lsm6dsl_xl_hp_bandwidth_set(&lsm6dsl_dev_ctx, LSM6DSL_XL_HP_ODR_DIV_100);

		/* Gyroscope - filtering chain */
		lsm6dsl_gy_band_pass_set(&lsm6dsl_dev_ctx, LSM6DSL_HP_260mHz_LP1_STRONG);
		return lsm6dsl_dev_ctx;
}

static stmdev_ctx_t lsm303agr_init_mg(I2C_HandleTypeDef *hi2c){
	stmdev_ctx_t dev_ctx_mg;
	dev_ctx_mg.write_reg = lsm303agr_platform_write;
	dev_ctx_mg.read_reg = lsm303agr_platform_read;
	dev_ctx_mg.handle = (void*)LSM303AGR_I2C_ADD_MG;
	/* Check device ID */
	whoamI = 0;
	lsm303agr_mag_device_id_get(&dev_ctx_mg, &whoamI);
	if ( whoamI != LSM303AGR_ID_MG )
	while(1); /*manage here device not found */

	/* Restore default configuration for magnetometer */
	lsm303agr_mag_reset_set(&dev_ctx_mg, PROPERTY_ENABLE);
	do {
	 lsm303agr_mag_reset_get(&dev_ctx_mg, &rst);
	} while (rst);
	/* Enable Block Data Update */
	lsm303agr_mag_block_data_update_set(&dev_ctx_mg, PROPERTY_ENABLE);
	/* Set Output Data Rate */
	lsm303agr_mag_data_rate_set(&dev_ctx_mg, LSM303AGR_MG_ODR_10Hz);
	/* Set / Reset magnetic sensor mode */
	lsm303agr_mag_set_rst_mode_set(&dev_ctx_mg, LSM303AGR_SENS_OFF_CANC_EVERY_ODR);
	/* Enable temperature compensation on mag sensor */
	lsm303agr_mag_offset_temp_comp_set(&dev_ctx_mg, PROPERTY_ENABLE);
	/* Set magnetometer in continuos mode */
	lsm303agr_mag_operating_mode_set(&dev_ctx_mg, LSM303AGR_CONTINUOUS_MODE);

	return dev_ctx_mg;
}

void HAL_TIM_PeriodElapsedCallback(TIM_HandleTypeDef *htim){
	/*the variable that allows the LCD to be updated with an interrupt at 1 hz is activated*/
	 if(htim->Instance == TIM6){
		 baro_flag=true;
	 }
	 /*the variable that allows the compute of acceletometer and gyroscope with an interrupt at 30 hz is activated*/
	 if(htim->Instance == TIM7){
		 acc_and_giro_flag=true;
	 	 }
	 /*the variable that allows the compute of mean and magnetometer with an interrupt at 10 hz is activated*/
	 if(htim-> Instance == TIM4){
		 magn_flag =true;
		 mean_flag=true;
	 }
	 /*the variable that allows the compute of barometer with an interrupt at 75 hz is activated*/
	 if(htim-> Instance == TIM3){
		display_flag =true;
		 }
}

static int32_t lps22hb_platform_write(void *handle, uint8_t reg, uint8_t *bufp,
		uint16_t len) {
	if (handle == &hi2c1) {
		/* Write multiple command */
		HAL_I2C_Mem_Write(handle, LPS22HB_I2C_ADD_H, reg,
		I2C_MEMADD_SIZE_8BIT, bufp, len, 1000);
	}
	return 0;
}

/*
 * @brief  Read generic device register (platform dependent)
 *
 * @param  handle    customizable argument. In this examples is used in
 *                   order to select the correct sensor bus handler.
 * @param  reg       register to read
 * @param  bufp      pointer to buffer that store the data read
 * @param  len       number of consecutive register to read
 *
 */
static int32_t lps22hb_platform_read(void *handle, uint8_t reg, uint8_t *bufp,
		uint16_t len) {
	if (handle == &hi2c1) {
		/* Read multiple command */
		HAL_I2C_Mem_Read(handle, LPS22HB_I2C_ADD_H, reg,
		I2C_MEMADD_SIZE_8BIT, bufp, len, 1000);
	}
	return 0;
}
static int32_t lsm303agr_platform_write(void *handle, uint8_t Reg, uint8_t *Bufp,
                              uint16_t len)
{
  uint32_t i2c_add = (uint32_t)handle;
  if (i2c_add == LSM303AGR_I2C_ADD_XL)
  {
    /* enable auto incremented in multiple read/write commands */
    Reg |= 0x80;
  }
  HAL_I2C_Mem_Write(&hi2c1, i2c_add, Reg,
                    I2C_MEMADD_SIZE_8BIT, Bufp, len, 1000);
  return 0;
}

static int32_t lsm303agr_platform_read(void *handle, uint8_t Reg, uint8_t *Bufp,
                             uint16_t len)
{
  uint32_t i2c_add = (uint32_t)handle;
  if (i2c_add == LSM303AGR_I2C_ADD_XL)
  {
    /* enable auto incremented in multiple read/write commands */
    Reg |= 0x80;
  }
  HAL_I2C_Mem_Read(&hi2c1, (uint8_t) i2c_add, Reg,
                   I2C_MEMADD_SIZE_8BIT, Bufp, len, 1000);
  return 0;
}
static int32_t lsm6dsl_platform_write(void *handle, uint8_t Reg, uint8_t *Bufp,
                              uint16_t len)
{
  if (handle == &hi2c1)
  {
    HAL_I2C_Mem_Write(handle, LSM6DSL_I2C_ADD_H, Reg,
                      I2C_MEMADD_SIZE_8BIT, Bufp, len, 1000);
  }
  return 0;
}

static int32_t lsm6dsl_platform_read(void *handle, uint8_t Reg, uint8_t *Bufp,
                             uint16_t len)
{
  if (handle == &hi2c1)
  {
      HAL_I2C_Mem_Read(handle, LSM6DSL_I2C_ADD_H, Reg,
                       I2C_MEMADD_SIZE_8BIT, Bufp, len, 1000);
  }
  return 0;
}
/*
 * @brief  Send buffer to console (platform dependent)
 *
 * @param  tx_buffer     buffer to trasmit
 * @param  len           number of byte to send
 *
 */
static void tx_com(uint8_t *tx_buffer, uint16_t len ) {
  HAL_UART_Transmit(&huart3, tx_buffer, len, 1000);
}

/*Take the accelerometer values and converted into the components of the acceleration vector on the 3 axes*/
static void acceleration1_acquisition(stmdev_ctx_t *dev_ctx, int8_t i){
	lsm6dsl_reg_t reg;
	lsm6dsl_status_reg_get(dev_ctx, &reg.status_reg);
	memset(data_raw_acceleration.u8bit, 0x00, 3*sizeof(int16_t));
	lsm6dsl_acceleration_raw_get(dev_ctx, data_raw_acceleration.u8bit);
	coda_x_acc1[i] = lsm6dsl_from_fs2g_to_mg( data_raw_acceleration.i16bit[0]);
	coda_y_acc1[i] = lsm6dsl_from_fs2g_to_mg( data_raw_acceleration.i16bit[1]);
	coda_z_acc1[i] = lsm6dsl_from_fs2g_to_mg( data_raw_acceleration.i16bit[2]);
}
/*Take the accelerometer values and converted into the components of the acceleration vector on the 3 axes*/
static void acceleration2_acquisition(stmdev_ctx_t *dev_ctx, int8_t i){
			/* Read magnetic field data */
	memset(data_raw_acceleration.u8bit, 0x00, 3*sizeof(int16_t));
	lsm303agr_acceleration_raw_get(dev_ctx, data_raw_acceleration.u8bit);
	coda_x_acc2[i] = lsm303agr_from_fs_2g_hr_to_mg( data_raw_acceleration.i16bit[0] );
	coda_y_acc2[i] = lsm303agr_from_fs_2g_hr_to_mg( data_raw_acceleration.i16bit[1] );
	coda_z_acc2[i] = lsm303agr_from_fs_2g_hr_to_mg( data_raw_acceleration.i16bit[2] );
}

/*I take the values of the gyroscope and converted into the components of the angular velocity vector on the 3 axes*/
static void gyroscope_acquisition(stmdev_ctx_t *dev_ctx, int8_t i){
	memset(data_raw_angular_rate.u8bit, 0x00, 3*sizeof(int16_t));
	lsm6dsl_angular_rate_raw_get(dev_ctx, data_raw_angular_rate.u8bit);
	coda_x_ang[i] = lsm6dsl_from_fs2000dps_to_mdps(data_raw_angular_rate.i16bit[0]);
	coda_y_ang[i] = lsm6dsl_from_fs2000dps_to_mdps(data_raw_angular_rate.i16bit[1]);
	coda_z_ang[i] = lsm6dsl_from_fs2000dps_to_mdps(data_raw_angular_rate.i16bit[2]);

}

/*I take the values of the magnetometer converted into the components on the 3 axes of the magnetic flux density vector*/
static void magnetometer_acquisition(stmdev_ctx_t *dev_ctx, int8_t i){
	memset(data_raw_magnetic.u8bit, 0x00, 3*sizeof(int16_t));
	lsm303agr_magnetic_raw_get(dev_ctx, data_raw_magnetic.u8bit);
	coda_mg_x[i] = lsm303agr_from_lsb_to_mgauss( data_raw_magnetic.i16bit[0]);
	coda_mg_y[i] = lsm303agr_from_lsb_to_mgauss( data_raw_magnetic.i16bit[1]);
	coda_mg_z[i] = lsm303agr_from_lsb_to_mgauss( data_raw_magnetic.i16bit[2]);

}

/*I take the values of the magnetometer converted into a pressure value*/
static void pressure_acquisition(stmdev_ctx_t *dev_ctx, int8_t i){
  memset(data_raw_pressure.u8bit, 0x00, sizeof(int32_t));
  lps22hb_pressure_raw_get(dev_ctx, data_raw_pressure.u8bit);
  coda_bar[i] = lps22hb_from_lsb_to_hpa(data_raw_pressure.i32bit);
}

/*compute the mean of the barometer*/
static void compute_mean_bar(int8_t size, float *buff, float result){
	float tot=0;
	int8_t i=0;
	while(i<=size){
		tot = tot + buff[i];
		i=i+1;
	}
	result = tot/size;
}

/*compute the mean*/
static void compute_mean(int8_t size, float *buffx, float *buffy, float *buffz, float *result){
	float tot_x=0;
	float tot_y=0;
	float tot_z=0;
	int8_t i=0;
	while(i<=size){
		tot_x = tot_x + buffx[i];
		tot_y = tot_y + buffy[i];
		tot_z = tot_z + buffz[i];
		i=i+1;
	}
	result[0]=tot_x/size;
	result[1]=tot_y/size;
	result[2]=tot_z/size;
}

/* USER CODE END 4 */

void Error_Handler(void)
{
}

/************************ (C) COPYRIGHT STMicroelectronics *****END OF FILE****/
